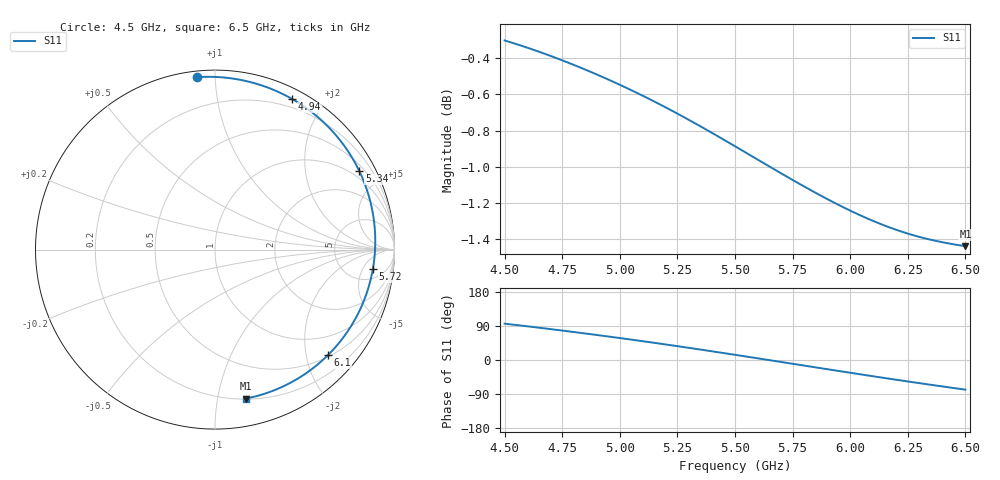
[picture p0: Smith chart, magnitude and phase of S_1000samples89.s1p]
! TOUCHSTONE file generated by CST MICROWAVE STUDIO
! Date and time: Wed Oct 26 23:11:00 2022
! Project name: L.cst
! Parameters = {Di=1.27; Epsilon_r=1.56; InnerDiameter=1.27; Length=2; Lf=10; Lg=60; OuterConductorThickness=0.2921; OuterDiameter=3.6; Wf=3; Wp=41.2; de=1.5; df=6.8; g=0.8; gx=2.7326; gy=4.01864; h=2.34; hf=1.524; px=8.18783; py=9.44661; w=9.7; wx=5.45523; wy=5.42797}
! Header version: 2018
! Port assignment regex: !\s*Touchstone port\s*([0-9]+)\s*=\s*(CST MWS port|CST DS port)\s*([0-9]+|Zmin|Zmax)\s*\(\"(.*)\"\)(\s*mode\s*([0-9]+))?.*
! Touchstone port assignment:
! Touchstone port 1 = CST MWS port 1 ("")
# GHz S DB R 50
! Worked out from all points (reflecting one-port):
!   101 points, 4.5 GHz to 6.5 GHz, reference 50 ohm
!   lowest |S11| = -1.4 dB at 6.5 GHz (marker M1), VSWR 12.12, Z = 10.3 - j60.4 ohm
!   phase of S11 starts at 96 deg and turns -174 deg over the sweep
!   S11 on the Smith chart (normalised r, x): 4.5 GHz: 0.03, +0.90; 4.94 GHz: 0.11, +1.63; 5.34 GHz: 0.71, +3.82; 5.72 GHz: 8, -8; 6.1 GHz: 0.54, -2.44; 6.5 GHz: 0.21, -1.21
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4.5  -0.30 95.9
4.58  -0.34 90.2
4.64  -0.36 85.9
4.76  -0.42 76.9
4.86  -0.47 69.2
4.94  -0.51 62.8
5  -0.55 57.9
5.12  -0.62 47.8
5.18  -0.66 42.7
5.26  -0.71 35.6
5.34  -0.77 28.4
5.42  -0.83 21.1
5.5  -0.89 13.7
5.56  -0.93 8.1
5.62  -0.98 2.4
5.72  -1.05 -7.1
5.76  -1.08 -10.9
5.82  -1.12 -16.6
5.88  -1.16 -22.3
5.94  -1.20 -28.0
6  -1.24 -33.7
6.1  -1.30 -43.0
6.18  -1.34 -50.3
6.26  -1.37 -57.5
6.32  -1.39 -62.8
6.38  -1.41 -68.0
6.44  -1.42 -73.2
6.5  -1.44 -78.2
